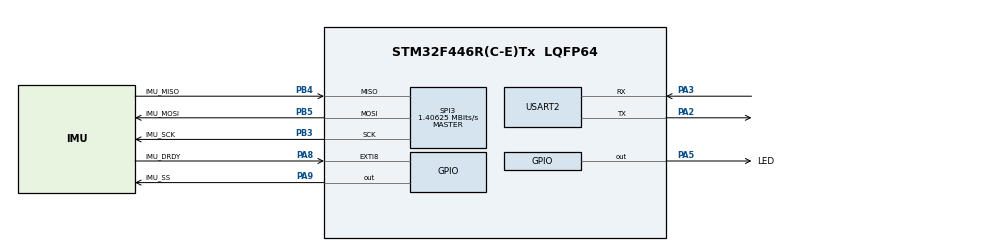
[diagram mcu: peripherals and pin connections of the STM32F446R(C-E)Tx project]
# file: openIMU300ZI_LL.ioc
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Mcu.Family=STM32F4
Mcu.Name=STM32F446R(C-E)Tx
Mcu.Package=LQFP64
NVIC.EXTI9_5_IRQn=true\:0\:0\:false\:false\:true\:true\:true
NVIC.PriorityGroup=NVIC_PRIORITYGROUP_4
PA2.Mode=Asynchronous
PA2.Signal=USART2_TX
PA3.Mode=Asynchronous
PA3.Signal=USART2_RX
PA5.GPIO_Label=LED
PA5.Signal=GPIO_Output
PA8.GPIO_Label=IMU_DRDY
PA8.GPIO_ModeDefaultEXTI=GPIO_MODE_IT_FALLING
PA8.GPIO_PuPd=GPIO_PULLUP
PA8.Signal=GPXTI8
PA9.GPIO_Label=IMU_SS
PA9.PinState=GPIO_PIN_SET
PA9.Signal=GPIO_Output
PB3.GPIO_Label=IMU_SCK
PB3.Mode=Full_Duplex_Master
PB3.Signal=SPI3_SCK
PB4.GPIO_Label=IMU_MISO
PB4.GPIO_PuPd=GPIO_PULLUP
PB4.Mode=Full_Duplex_Master
PB4.Signal=SPI3_MISO
PB5.GPIO_Label=IMU_MOSI
PB5.GPIO_PuPd=GPIO_NOPULL
PB5.Mode=Full_Duplex_Master
PB5.Signal=SPI3_MOSI
PH0-OSC_IN.Mode=HSE-External-Clock-Source
PH0-OSC_IN.Signal=RCC_OSC_IN
PH1-OSC_OUT.Mode=HSE-External-Clock-Source
PH1-OSC_OUT.Signal=RCC_OSC_OUT
ProjectManager.HeapSize=0x200
ProjectManager.StackSize=0x400
ProjectManager.TargetToolchain=SW4STM32
RCC.AHBFreq_Value=180000000
RCC.APB1CLKDivider=RCC_HCLK_DIV4
RCC.APB1Freq_Value=45000000
RCC.APB1TimFreq_Value=90000000
RCC.APB2CLKDivider=RCC_HCLK_DIV2
RCC.APB2Freq_Value=90000000
RCC.APB2TimFreq_Value=180000000
RCC.CortexFreq_Value=180000000
RCC.HCLKFreq_Value=180000000
RCC.HSE_VALUE=8000000
RCC.PLLM=4
RCC.PLLN=180
RCC.PLLSourceVirtual=RCC_PLLSOURCE_HSE
RCC.SYSCLKFreq_VALUE=180000000
RCC.SYSCLKSource=RCC_SYSCLKSOURCE_PLLRCLK
RCC.USBFreq_Value=180000000
RCC.VCOOutputFreq_Value=360000000
SPI3.BaudRatePrescaler=SPI_BAUDRATEPRESCALER_32
SPI3.CLKPhase=SPI_PHASE_2EDGE
SPI3.CLKPolarity=SPI_POLARITY_HIGH
SPI3.CalculateBaudRate=1.40625 MBits/s
SPI3.DataSize=SPI_DATASIZE_16BIT
SPI3.Direction=SPI_DIRECTION_2LINES
SPI3.Mode=SPI_MODE_MASTER
SPI3.VirtualType=VM_MASTER
USART2.VirtualMode=VM_ASYNC
board=custom

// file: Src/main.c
/**
  ******************************************************************************
  * @file           : main.c
  * @brief          : Main program body
  ******************************************************************************
  ** This notice applies to any and all portions of this file
  * that are not between comment pairs USER CODE BEGIN and
  * USER CODE END. Other portions of this file, whether
  * inserted by the user or by software development tools
  * are owned by their respective copyright owners.
  *
  * COPYRIGHT(c) 2019 STMicroelectronics
  *
  * Redistribution and use in source and binary forms, with or without modification,
  * are permitted provided that the following conditions are met:
  *   1. Redistributions of source code must retain the above copyright notice,
  *      this list of conditions and the following disclaimer.
  *   2. Redistributions in binary form must reproduce the above copyright notice,
  *      this list of conditions and the following disclaimer in the documentation
  *      and/or other materials provided with the distribution.
  *   3. Neither the name of STMicroelectronics nor the names of its contributors
  *      may be used to endorse or promote products derived from this software
  *      without specific prior written permission.
  *
  * THIS SOFTWARE IS PROVIDED BY THE COPYRIGHT HOLDERS AND CONTRIBUTORS "AS IS"
  * AND ANY EXPRESS OR IMPLIED WARRANTIES, INCLUDING, BUT NOT LIMITED TO, THE
  * IMPLIED WARRANTIES OF MERCHANTABILITY AND FITNESS FOR A PARTICULAR PURPOSE ARE
  * DISCLAIMED. IN NO EVENT SHALL THE COPYRIGHT HOLDER OR CONTRIBUTORS BE LIABLE
  * FOR ANY DIRECT, INDIRECT, INCIDENTAL, SPECIAL, EXEMPLARY, OR CONSEQUENTIAL
  * DAMAGES (INCLUDING, BUT NOT LIMITED TO, PROCUREMENT OF SUBSTITUTE GOODS OR
  * SERVICES; LOSS OF USE, DATA, OR PROFITS; OR BUSINESS INTERRUPTION) HOWEVER
  * CAUSED AND ON ANY THEORY OF LIABILITY, WHETHER IN CONTRACT, STRICT LIABILITY,
  * OR TORT (INCLUDING NEGLIGENCE OR OTHERWISE) ARISING IN ANY WAY OUT OF THE USE
  * OF THIS SOFTWARE, EVEN IF ADVISED OF THE POSSIBILITY OF SUCH DAMAGE.
  *
  ******************************************************************************
  */
#include "main.h"

/* USER CODE BEGIN Includes */
#include <stdio.h>

#include "stm32f4xx_it.h"
/* USER CODE END Includes */

/* USER CODE BEGIN PV */
/* Private variables ---------------------------------------------------------*/
ImuInterfacePtr imu_interface;
ImuDriverPtr imu_driver;
/* USER CODE END PV */

static void LL_Init(void);
void SystemClock_Config(void);
static void MX_GPIO_Init(void);
static void MX_SPI3_Init(void);
static void MX_USART2_UART_Init(void);

/* USER CODE BEGIN PFP */
/* Private function prototypes -----------------------------------------------*/
void LL_IMU_Driver_Init(void);
/* USER CODE END PFP */

int main(void)
{

  /* MCU Configuration----------------------------------------------------------*/

  /* Reset of all peripherals, Initializes the Flash interface and the Systick. */
  LL_Init();

  /* Configure the system clock */
  SystemClock_Config();

  /* Initialize all configured peripherals */
  MX_GPIO_Init();
  MX_SPI3_Init();
  MX_USART2_UART_Init();
  /* USER CODE BEGIN 2 */
  LL_SPI_Enable(SPI3);
  LL_IMU_Driver_Init();
  /* USER CODE END 2 */

  /* Infinite loop */
  while (1) {

  /* USER CODE BEGIN 3 */
    for (int i = 0; i < 100000; ++i) {
    }

//    ImuData data = imuDriverGetImuData(imu_driver);
    AhrsData ahrs_data = imuDriverGetAhrsProcessedData(imu_driver);

    printf("% .3f, % .3f, % .3f \r\n", ahrs_data.attitude[0], ahrs_data.attitude[1], ahrs_data.attitude[2]);
  }
  /* USER CODE END 3 */

}
static void LL_Init(void)
{

  LL_APB2_GRP1_EnableClock(LL_APB2_GRP1_PERIPH_SYSCFG);
  LL_APB1_GRP1_EnableClock(LL_APB1_GRP1_PERIPH_PWR);

  NVIC_SetPriorityGrouping(NVIC_PRIORITYGROUP_4);

  /* System interrupt init*/
  /* MemoryManagement_IRQn interrupt configuration */
  NVIC_SetPriority(MemoryManagement_IRQn, NVIC_EncodePriority(NVIC_GetPriorityGrouping(),0, 0));
  /* BusFault_IRQn interrupt configuration */
  NVIC_SetPriority(BusFault_IRQn, NVIC_EncodePriority(NVIC_GetPriorityGrouping(),0, 0));
  /* UsageFault_IRQn interrupt configuration */
  NVIC_SetPriority(UsageFault_IRQn, NVIC_EncodePriority(NVIC_GetPriorityGrouping(),0, 0));
  /* SVCall_IRQn interrupt configuration */
  NVIC_SetPriority(SVCall_IRQn, NVIC_EncodePriority(NVIC_GetPriorityGrouping(),0, 0));
  /* DebugMonitor_IRQn interrupt configuration */
  NVIC_SetPriority(DebugMonitor_IRQn, NVIC_EncodePriority(NVIC_GetPriorityGrouping(),0, 0));
  /* PendSV_IRQn interrupt configuration */
  NVIC_SetPriority(PendSV_IRQn, NVIC_EncodePriority(NVIC_GetPriorityGrouping(),0, 0));
  /* SysTick_IRQn interrupt configuration */
  NVIC_SetPriority(SysTick_IRQn, NVIC_EncodePriority(NVIC_GetPriorityGrouping(),0, 0));

}

void SystemClock_Config(void)
{

  LL_FLASH_SetLatency(LL_FLASH_LATENCY_5);

  if(LL_FLASH_GetLatency() != LL_FLASH_LATENCY_5)
  {
  Error_Handler();
  }
  LL_PWR_SetRegulVoltageScaling(LL_PWR_REGU_VOLTAGE_SCALE1);

  LL_PWR_EnableOverDriveMode();

  LL_RCC_HSE_EnableBypass();

  LL_RCC_HSE_Enable();

   /* Wait till HSE is ready */
  while(LL_RCC_HSE_IsReady() != 1)
  {

  }
  LL_RCC_PLL_ConfigDomain_SYS(LL_RCC_PLLSOURCE_HSE, LL_RCC_PLLM_DIV_4, 180, LL_RCC_PLLR_DIV_2);

  LL_RCC_PLL_Enable();

   /* Wait till PLL is ready */
  while(LL_RCC_PLL_IsReady() != 1)
  {

  }
  LL_RCC_SetAHBPrescaler(LL_RCC_SYSCLK_DIV_1);

  LL_RCC_SetAPB1Prescaler(LL_RCC_APB1_DIV_4);

  LL_RCC_SetAPB2Prescaler(LL_RCC_APB2_DIV_2);

  LL_RCC_SetSysClkSource(LL_RCC_SYS_CLKSOURCE_PLLR);

   /* Wait till System clock is ready */
  while(LL_RCC_GetSysClkSource() != LL_RCC_SYS_CLKSOURCE_STATUS_PLLR)
  {

  }
  LL_Init1msTick(180000000);

  LL_SYSTICK_SetClkSource(LL_SYSTICK_CLKSOURCE_HCLK);

  LL_SetSystemCoreClock(180000000);

  LL_RCC_SetTIMPrescaler(LL_RCC_TIM_PRESCALER_TWICE);

  /* SysTick_IRQn interrupt configuration */
  NVIC_SetPriority(SysTick_IRQn, NVIC_EncodePriority(NVIC_GetPriorityGrouping(),0, 0));
}

/* SPI3 init function */
static void MX_SPI3_Init(void)
{

  LL_SPI_InitTypeDef SPI_InitStruct;

  LL_GPIO_InitTypeDef GPIO_InitStruct;

  /* Peripheral clock enable */
  LL_APB1_GRP1_EnableClock(LL_APB1_GRP1_PERIPH_SPI3);

  /**SPI3 GPIO Configuration
  PB3   ------> SPI3_SCK
  PB4   ------> SPI3_MISO
  PB5   ------> SPI3_MOSI
  */
  GPIO_InitStruct.Pin = IMU_SCK_Pin|IMU_MOSI_Pin;
  GPIO_InitStruct.Mode = LL_GPIO_MODE_ALTERNATE;
  GPIO_InitStruct.Speed = LL_GPIO_SPEED_FREQ_VERY_HIGH;
  GPIO_InitStruct.OutputType = LL_GPIO_OUTPUT_PUSHPULL;
  GPIO_InitStruct.Pull = LL_GPIO_PULL_NO;
  GPIO_InitStruct.Alternate = LL_GPIO_AF_6;
  LL_GPIO_Init(GPIOB, &GPIO_InitStruct);

  GPIO_InitStruct.Pin = IMU_MISO_Pin;
  GPIO_InitStruct.Mode = LL_GPIO_MODE_ALTERNATE;
  GPIO_InitStruct.Speed = LL_GPIO_SPEED_FREQ_VERY_HIGH;
  GPIO_InitStruct.OutputType = LL_GPIO_OUTPUT_PUSHPULL;
  GPIO_InitStruct.Pull = LL_GPIO_PULL_UP;
  GPIO_InitStruct.Alternate = LL_GPIO_AF_6;
  LL_GPIO_Init(IMU_MISO_GPIO_Port, &GPIO_InitStruct);

  /* SPI3 parameter configuration*/
  SPI_InitStruct.TransferDirection = LL_SPI_FULL_DUPLEX;
  SPI_InitStruct.Mode = LL_SPI_MODE_MASTER;
  SPI_InitStruct.DataWidth = LL_SPI_DATAWIDTH_16BIT;
  SPI_InitStruct.ClockPolarity = LL_SPI_POLARITY_HIGH;
  SPI_InitStruct.ClockPhase = LL_SPI_PHASE_2EDGE;
  SPI_InitStruct.NSS = LL_SPI_NSS_SOFT;
  SPI_InitStruct.BaudRate = LL_SPI_BAUDRATEPRESCALER_DIV32;
  SPI_InitStruct.BitOrder = LL_SPI_MSB_FIRST;
  SPI_InitStruct.CRCCalculation = LL_SPI_CRCCALCULATION_DISABLE;
  SPI_InitStruct.CRCPoly = 10;
  LL_SPI_Init(SPI3, &SPI_InitStruct);

  LL_SPI_SetStandard(SPI3, LL_SPI_PROTOCOL_MOTOROLA);

}

/* USART2 init function */
static void MX_USART2_UART_Init(void)
{

  LL_USART_InitTypeDef USART_InitStruct;

  LL_GPIO_InitTypeDef GPIO_InitStruct;

  /* Peripheral clock enable */
  LL_APB1_GRP1_EnableClock(LL_APB1_GRP1_PERIPH_USART2);

  /**USART2 GPIO Configuration
  PA2   ------> USART2_TX
  PA3   ------> USART2_RX
  */
  GPIO_InitStruct.Pin = LL_GPIO_PIN_2|LL_GPIO_PIN_3;
  GPIO_InitStruct.Mode = LL_GPIO_MODE_ALTERNATE;
  GPIO_InitStruct.Speed = LL_GPIO_SPEED_FREQ_VERY_HIGH;
  GPIO_InitStruct.OutputType = LL_GPIO_OUTPUT_PUSHPULL;
  GPIO_InitStruct.Pull = LL_GPIO_PULL_UP;
  GPIO_InitStruct.Alternate = LL_GPIO_AF_7;
  LL_GPIO_Init(GPIOA, &GPIO_InitStruct);

  USART_InitStruct.BaudRate = 115200;
  USART_InitStruct.DataWidth = LL_USART_DATAWIDTH_8B;
  USART_InitStruct.StopBits = LL_USART_STOPBITS_1;
  USART_InitStruct.Parity = LL_USART_PARITY_NONE;
  USART_InitStruct.TransferDirection = LL_USART_DIRECTION_TX_RX;
  USART_InitStruct.HardwareFlowControl = LL_USART_HWCONTROL_NONE;
  USART_InitStruct.OverSampling = LL_USART_OVERSAMPLING_16;
  LL_USART_Init(USART2, &USART_InitStruct);

  LL_USART_ConfigAsyncMode(USART2);

  LL_USART_Enable(USART2);

}

/** Configure pins as
        * Analog
        * Input
        * Output
        * EVENT_OUT
        * EXTI
*/
static void MX_GPIO_Init(void)
{

  LL_EXTI_InitTypeDef EXTI_InitStruct;
  LL_GPIO_InitTypeDef GPIO_InitStruct;

  /* GPIO Ports Clock Enable */
  LL_AHB1_GRP1_EnableClock(LL_AHB1_GRP1_PERIPH_GPIOH);
  LL_AHB1_GRP1_EnableClock(LL_AHB1_GRP1_PERIPH_GPIOA);
  LL_AHB1_GRP1_EnableClock(LL_AHB1_GRP1_PERIPH_GPIOB);

  /**/
  LL_GPIO_ResetOutputPin(LED_GPIO_Port, LED_Pin);

  /**/
  LL_GPIO_SetOutputPin(IMU_SS_GPIO_Port, IMU_SS_Pin);

  /**/
  GPIO_InitStruct.Pin = LED_Pin|IMU_SS_Pin;
  GPIO_InitStruct.Mode = LL_GPIO_MODE_OUTPUT;
  GPIO_InitStruct.Speed = LL_GPIO_SPEED_FREQ_LOW;
  GPIO_InitStruct.OutputType = LL_GPIO_OUTPUT_PUSHPULL;
  GPIO_InitStruct.Pull = LL_GPIO_PULL_NO;
  LL_GPIO_Init(GPIOA, &GPIO_InitStruct);

  /**/
  LL_SYSCFG_SetEXTISource(LL_SYSCFG_EXTI_PORTA, LL_SYSCFG_EXTI_LINE8);

  /**/
  EXTI_InitStruct.Line_0_31 = LL_EXTI_LINE_8;
  EXTI_InitStruct.LineCommand = ENABLE;
  EXTI_InitStruct.Mode = LL_EXTI_MODE_IT;
  EXTI_InitStruct.Trigger = LL_EXTI_TRIGGER_FALLING;
  LL_EXTI_Init(&EXTI_InitStruct);

  /**/
  LL_GPIO_SetPinPull(IMU_DRDY_GPIO_Port, IMU_DRDY_Pin, LL_GPIO_PULL_UP);

  /**/
  LL_GPIO_SetPinMode(IMU_DRDY_GPIO_Port, IMU_DRDY_Pin, LL_GPIO_MODE_INPUT);

  /* EXTI interrupt init*/
  NVIC_SetPriority(EXTI9_5_IRQn, NVIC_EncodePriority(NVIC_GetPriorityGrouping(),0, 0));
  NVIC_EnableIRQ(EXTI9_5_IRQn);

}

/* USER CODE BEGIN 4 */
/**
 *
 * @param file
 * @param ptr
 * @param len
 * @return
 */
int _write(__unused int file, __unused char *ptr, int len) {
  for (int DataIdx = 0; DataIdx < len; DataIdx++) {
    LL_USART_TransmitData8(USART2, (uint8_t)*ptr++);

    while (LL_USART_IsActiveFlag_TXE(USART2) == RESET) {
    }
  }

  return len;
}

/**
 * @brief This function handle the initialization of imu interface
 */
void LL_IMU_Driver_Init() {
  imu_interface = LL_ImuInterfaceCreate(GPIOA, LL_GPIO_PIN_10);
  LL_ImuInterfaceSetupSpi(imu_interface, SPI3, IMU_DRDY_GPIO_Port, IMU_DRDY_Pin,
                          IMU_SS_GPIO_Port, IMU_SS_Pin);

  imu_driver = imuDriverCreate(FrameworkSpi, imu_interface);
}

/* USER CODE END 4 */

void _Error_Handler(char *file, int line)
{
  /* USER CODE BEGIN Error_Handler_Debug */
  /* User can add his own implementation to report the HAL error return state
   */
  while (1) {
  }
  /* USER CODE END Error_Handler_Debug */
}

#ifdef  USE_FULL_ASSERT
/**
  * @brief  Reports the name of the source file and the source line number
  *         where the assert_param error has occurred.
  * @param  file: pointer to the source file name
  * @param  line: assert_param error line source number
  * @retval None
  */
void assert_failed(uint8_t* file, uint32_t line)
{
  /* USER CODE BEGIN 6 */
  /* User can add his own implementation to report the file name and line
     number,
     tex: printf("Wrong parameters value: file %s on line %d\r\n", file, line)
   */
  /* USER CODE END 6 */
}
#endif /* USE_FULL_ASSERT */

/************************ (C) COPYRIGHT STMicroelectronics *****END OF FILE****/
